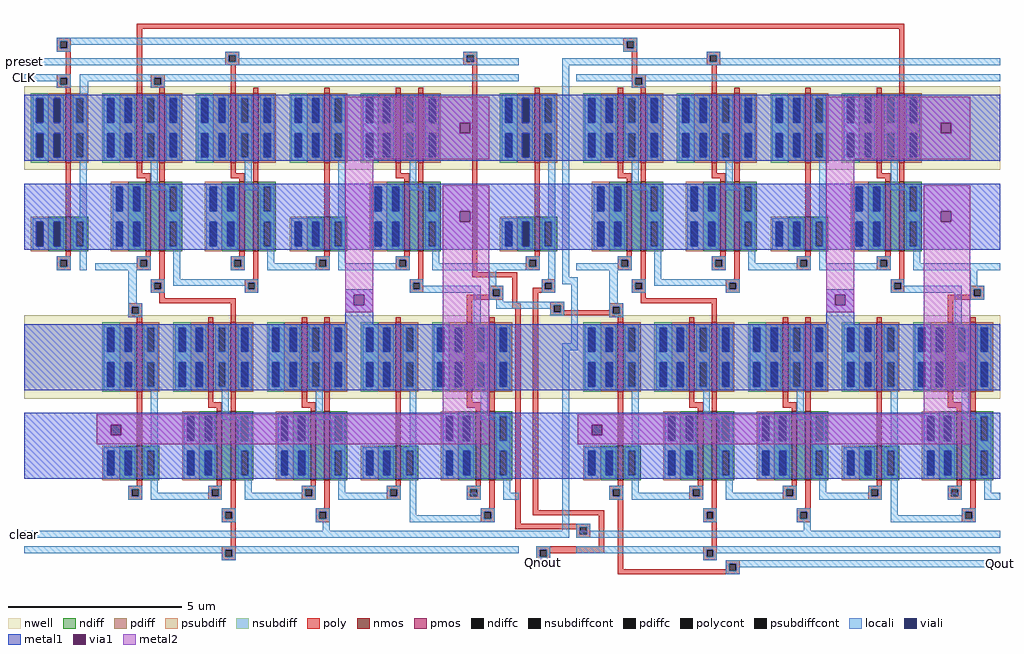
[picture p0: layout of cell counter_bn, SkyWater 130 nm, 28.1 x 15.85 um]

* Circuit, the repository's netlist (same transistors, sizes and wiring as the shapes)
* NGSPICE file created from counter_bn.ext - technology: sky130A

.subckt inverter A Y VP VN
X0 Y A VN VN sky130_fd_pr__nfet_01v8 ad=5e+11p pd=3e+06u as=5e+11p ps=3e+06u w=1e+06u l=150000u
X1 Y A VP VP sky130_fd_pr__pfet_01v8 ad=1e+12p pd=5e+06u as=1e+12p ps=5e+06u w=2e+06u l=150000u
.ends

.subckt nand2 A B Y VP VN
X0 VP B Y VP sky130_fd_pr__pfet_01v8 ad=2e+12p pd=1e+07u as=1e+12p ps=5e+06u w=2e+06u l=150000u
X1 Y B a_80_120# VN sky130_fd_pr__nfet_01v8 ad=1e+12p pd=5e+06u as=5e+11p ps=4.5e+06u w=2e+06u l=150000u
X2 a_80_120# A VN VN sky130_fd_pr__nfet_01v8 ad=0p pd=0u as=1e+12p ps=5e+06u w=2e+06u l=150000u
X3 Y A VP VP sky130_fd_pr__pfet_01v8 ad=0p pd=0u as=0p ps=0u w=2e+06u l=150000u
.ends

.subckt and2 VSUBS nand2_0/VP nand2_0/A nand2_0/B inverter_0/Y
Xinverter_0 nand2_0/Y inverter_0/Y nand2_0/VP VSUBS inverter
Xnand2_0 nand2_0/A nand2_0/B nand2_0/Y nand2_0/VP VSUBS nand2
.ends

.subckt dff_lower VSUBS nand2_2/Y inverter_0/A nand2_2/VP and2_0/nand2_0/B nand2_2/A
+ nand2_0/B
Xinverter_0 inverter_0/A nand2_0/A nand2_2/VP VSUBS inverter
Xand2_0 VSUBS nand2_2/VP nand2_0/Y and2_0/nand2_0/B nand2_2/B and2
Xnand2_0 nand2_0/A nand2_0/B nand2_0/Y nand2_2/VP VSUBS nand2
Xnand2_2 nand2_2/A nand2_2/B nand2_2/Y nand2_2/VP VSUBS nand2
.ends

.subckt dff_upper VSUBS and2_0/nand2_0/A nand2_2/Y nand2_2/VP nand2_2/B nand2_0/B
+ nand2_0/A
Xand2_0 VSUBS nand2_2/VP and2_0/nand2_0/A nand2_0/Y nand2_2/A and2
Xnand2_0 nand2_0/A nand2_0/B nand2_0/Y nand2_2/VP VSUBS nand2
Xnand2_2 nand2_2/A nand2_2/B nand2_2/Y nand2_2/VP VSUBS nand2
.ends

.subckt dff VDD GND Q dff_upper_0/nand2_2/B dff_upper_0/and2_0/nand2_0/A dff_upper_0/nand2_0/A
+ dff_upper_0/nand2_0/B dff_lower_0/and2_0/nand2_0/B
Xdff_lower_0 GND dff_upper_0/nand2_2/B dff_upper_0/nand2_0/A VDD dff_lower_0/and2_0/nand2_0/B
+ Q dff_upper_0/nand2_0/B dff_lower
Xdff_upper_0 GND dff_upper_0/and2_0/nand2_0/A Q VDD dff_upper_0/nand2_2/B dff_upper_0/nand2_0/B
+ dff_upper_0/nand2_0/A dff_upper
.ends


* Top level circuit counter_bn

Xinverter_0 inverter_0/A inverter_0/Y dff_1/VDD VSUBS inverter
Xinverter_1 dff_0/Q Qout dff_1/VDD VSUBS inverter
Xdff_0 dff_1/VDD VSUBS dff_0/Q dff_0/dff_upper_0/nand2_2/B dff_1/dff_lower_0/and2_0/nand2_0/B
+ dff_1/dff_upper_0/nand2_2/B inverter_0/Y dff_1/dff_upper_0/and2_0/nand2_0/A dff
Xdff_1 dff_1/VDD VSUBS dff_1/Q dff_1/dff_upper_0/nand2_2/B dff_1/dff_upper_0/and2_0/nand2_0/A
+ dff_0/Q inverter_0/A dff_1/dff_lower_0/and2_0/nand2_0/B dff
.end

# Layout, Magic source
magic
tech sky130A
<< nwell >>
rect -105 1370 -65 1375
rect 1355 1135 1390 1375
rect -200 690 5 715
rect -200 500 10 690
rect 1220 615 1395 715
rect 1220 505 1390 615
rect -200 475 5 500
rect 1220 475 1395 505
<< poly >>
rect 125 1540 2335 1555
rect -105 1505 -65 1515
rect -105 1485 -95 1505
rect -75 1485 -65 1505
rect -105 1475 -65 1485
rect -80 1410 -65 1475
rect -105 1400 -65 1410
rect -105 1380 -95 1400
rect -75 1380 -65 1400
rect -105 1370 -65 1380
rect 125 1370 140 1540
rect 1525 1505 1565 1515
rect 1525 1485 1535 1505
rect 1555 1485 1565 1505
rect 1525 1475 1565 1485
rect 1065 1465 1105 1475
rect 1065 1445 1075 1465
rect 1095 1445 1105 1465
rect 1065 1435 1105 1445
rect 1090 840 1105 1435
rect 1550 1410 1565 1475
rect 2320 1370 2335 1540
rect 1090 825 1220 840
rect 1205 750 1220 825
rect 1290 810 1330 820
rect 1290 795 1300 810
rect 1265 790 1300 795
rect 1320 790 1330 810
rect 1265 780 1330 790
rect 1205 735 1230 750
rect 1215 115 1230 735
rect 1265 155 1280 780
rect 1315 745 1355 755
rect 1315 725 1325 745
rect 1345 730 1355 745
rect 1345 725 1490 730
rect 1315 715 1490 725
rect 1265 140 1470 155
rect 1215 105 1430 115
rect 1215 100 1400 105
rect 1390 85 1400 100
rect 1420 85 1430 105
rect 1390 75 1430 85
rect 1455 50 1470 140
rect 1275 40 1470 50
rect 1275 20 1285 40
rect 1305 30 1470 40
rect 1305 20 1315 30
rect 1275 10 1315 20
rect 1510 -15 1525 185
rect 1820 0 1860 10
rect 1820 -15 1830 0
rect 1510 -20 1830 -15
rect 1850 -20 1860 0
rect 1510 -30 1860 -20
<< polycont >>
rect -95 1485 -75 1505
rect -95 1380 -75 1400
rect 1535 1485 1555 1505
rect 1075 1445 1095 1465
rect 1300 790 1320 810
rect 1325 725 1345 745
rect 1400 85 1420 105
rect 1285 20 1305 40
rect 1830 -20 1850 0
<< locali >>
rect -105 1505 1565 1515
rect -105 1485 -95 1505
rect -75 1495 1535 1505
rect -75 1485 -65 1495
rect -105 1475 -65 1485
rect 1525 1485 1535 1495
rect 1555 1485 1565 1505
rect 1525 1475 1565 1485
rect 1065 1465 1105 1475
rect -200 1435 5 1455
rect 1065 1445 1075 1465
rect 1095 1445 1105 1465
rect 1065 1435 1105 1445
rect 1350 1435 1405 1455
rect -200 1400 -65 1410
rect -200 1390 -95 1400
rect -105 1380 -95 1390
rect -75 1380 -65 1400
rect -105 1370 -65 1380
rect -40 1390 15 1410
rect -40 1350 -15 1390
rect 1220 845 1250 865
rect 1310 820 1330 850
rect 1290 810 1330 820
rect 1290 790 1300 810
rect 1320 790 1330 810
rect 1350 825 1370 1435
rect 1350 805 1395 825
rect 1290 780 1330 790
rect 1160 755 1180 765
rect 1160 745 1355 755
rect 1160 735 1325 745
rect 1315 725 1325 735
rect 1345 725 1355 745
rect 1315 715 1355 725
rect 1375 635 1395 805
rect 1350 615 1395 635
rect 1350 95 1370 615
rect -200 75 30 95
rect 1220 75 1370 95
rect 1390 105 1430 115
rect 1390 85 1400 105
rect 1420 85 1430 105
rect 1390 75 1430 85
rect -200 30 30 50
rect 1275 40 1315 50
rect 1275 20 1285 40
rect 1305 20 1315 40
rect 1275 5 1315 20
rect 1820 0 2610 10
rect 1820 -20 1830 0
rect 1850 -10 2610 0
rect 1850 -20 1860 -10
rect 1820 -30 1860 -20
<< metal1 >>
rect 1355 1160 1390 1350
rect 1355 905 1405 1095
rect -200 500 10 690
rect 1220 615 1395 690
rect 1220 500 1390 615
rect -200 245 5 435
rect 1220 245 1390 435
use dff  dff_0
transform 1 0 10 0 1 80
box -5 -70 1215 1395
use dff  dff_1
transform 1 0 1395 0 1 80
box -5 -70 1215 1395
use inverter  inverter_1
transform 1 0 1270 0 1 765
box -120 80 85 610
use inverter  inverter_0
transform 1 0 -80 0 1 765
box -120 80 85 610
<< labels >>
rlabel locali -200 1445 -200 1445 7 preset
rlabel locali -200 1400 -200 1400 7 CLK
rlabel locali 1295 5 1295 5 5 Qnout
rlabel locali 2610 0 2610 0 3 Qout
rlabel locali -200 85 -200 85 7 clear
<< end >>

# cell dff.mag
magic
tech sky130A
<< nwell >>
rect 1010 1270 1215 1295
rect 990 1080 1215 1270
rect 1010 1055 1215 1080
rect 1200 395 1215 635
<< poly >>
rect 180 685 195 720
rect 1130 710 1170 720
rect 1130 695 1140 710
rect 1065 690 1140 695
rect 1160 690 1170 710
rect 180 670 400 685
rect 90 660 130 670
rect 90 640 100 660
rect 120 640 130 660
rect 90 630 130 640
rect 385 630 400 670
rect 1065 680 1170 690
rect 1065 630 1080 680
<< polycont >>
rect 1140 690 1160 710
rect 100 640 120 660
<< locali >>
rect 965 1355 1215 1375
rect 965 1310 1215 1330
rect 965 765 1215 785
rect 90 670 115 765
rect 1130 720 1150 765
rect 940 700 1105 720
rect 90 660 130 670
rect 90 640 100 660
rect 120 640 130 660
rect 90 630 130 640
rect 1085 610 1105 700
rect 1130 710 1170 720
rect 1130 690 1140 710
rect 1160 690 1170 710
rect 1130 680 1170 690
<< metal1 >>
rect -5 1190 1215 1270
rect -5 1160 1045 1190
rect 1075 1160 1215 1190
rect -5 1080 1215 1160
rect -5 935 1215 1015
rect -5 905 1045 935
rect 1075 905 1215 935
rect -5 825 1215 905
rect 715 695 795 710
rect 715 665 740 695
rect 770 665 795 695
rect 715 610 795 665
rect -5 420 1215 610
rect -5 320 1215 355
rect -5 290 40 320
rect 70 290 1215 320
rect -5 165 1215 290
<< via1 >>
rect 1045 1160 1075 1190
rect 1045 905 1075 935
rect 740 665 770 695
rect 40 290 70 320
<< metal2 >>
rect 715 1190 1130 1265
rect 715 1160 1045 1190
rect 1075 1160 1130 1190
rect 715 1085 1130 1160
rect 715 695 795 1085
rect 715 665 740 695
rect 770 665 795 695
rect 715 645 795 665
rect 995 935 1130 1010
rect 995 905 1045 935
rect 1075 905 1130 935
rect 995 350 1130 905
rect 0 320 1130 350
rect 0 290 40 320
rect 70 290 1130 320
rect 0 265 1130 290
use dff_lower  dff_lower_0
transform 1 0 -35 0 1 130
box 30 -200 1250 505
use dff_upper  dff_upper_0
transform 1 0 -5 0 1 700
box 0 0 1015 695
<< labels >>
rlabel space -5 5 -5 5 7 clear
port 7 w
rlabel space -5 1365 -5 1365 7 preset
port 6 w
rlabel space -5 1320 -5 1320 7 CLK
port 5 w
rlabel space -5 775 -5 775 7 D
port 3 w
rlabel metal1 -5 1175 -5 1175 7 VDD
port 1 w
rlabel metal1 -5 920 -5 920 7 GND
port 2 w
rlabel locali 1215 775 1215 775 3 Q
port 4 e
<< end >>

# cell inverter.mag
magic
tech sky130A
<< nwell >>
rect -120 370 85 610
<< nmos >>
rect 0 135 15 235
<< pmos >>
rect 0 390 15 590
<< ndiff >>
rect -50 220 0 235
rect -50 150 -35 220
rect -15 150 0 220
rect -50 135 0 150
rect 15 220 65 235
rect 15 150 30 220
rect 50 150 65 220
rect 15 135 65 150
<< pdiff >>
rect -50 575 0 590
rect -50 505 -35 575
rect -15 505 0 575
rect -50 475 0 505
rect -50 405 -35 475
rect -15 405 0 475
rect -50 390 0 405
rect 15 575 65 590
rect 15 505 30 575
rect 50 505 65 575
rect 15 475 65 505
rect 15 405 30 475
rect 50 405 65 475
rect 15 390 65 405
<< ndiffc >>
rect -35 150 -15 220
rect 30 150 50 220
<< pdiffc >>
rect -35 505 -15 575
rect -35 405 -15 475
rect 30 505 50 575
rect 30 405 50 475
<< psubdiff >>
rect -100 220 -50 235
rect -100 150 -85 220
rect -65 150 -50 220
rect -100 135 -50 150
<< nsubdiff >>
rect -100 575 -50 590
rect -100 505 -85 575
rect -65 505 -50 575
rect -100 475 -50 505
rect -100 405 -85 475
rect -65 405 -50 475
rect -100 390 -50 405
<< psubdiffcont >>
rect -85 150 -65 220
<< nsubdiffcont >>
rect -85 505 -65 575
rect -85 405 -65 475
<< poly >>
rect 0 590 15 605
rect 0 235 15 390
rect 0 120 15 135
rect -25 110 15 120
rect -25 90 -15 110
rect 5 90 15 110
rect -25 80 15 90
<< polycont >>
rect -15 90 5 110
<< locali >>
rect -95 575 -5 585
rect -95 505 -85 575
rect -65 505 -35 575
rect -15 505 -5 575
rect -95 475 -5 505
rect -95 405 -85 475
rect -65 405 -35 475
rect -15 405 -5 475
rect -95 395 -5 405
rect 20 575 60 585
rect 20 505 30 575
rect 50 505 60 575
rect 20 475 60 505
rect 20 405 30 475
rect 50 405 60 475
rect 20 395 60 405
rect 40 230 60 395
rect -95 220 -5 230
rect -95 150 -85 220
rect -65 150 -35 220
rect -15 150 -5 220
rect -95 140 -5 150
rect 20 220 60 230
rect 20 150 30 220
rect 50 150 60 220
rect 20 140 60 150
rect -25 110 15 120
rect -25 90 -15 110
rect 5 90 15 110
rect -25 80 15 90
rect 40 80 60 140
<< viali >>
rect -85 505 -65 575
rect -35 505 -15 575
rect -85 405 -65 475
rect -35 405 -15 475
rect -85 150 -65 220
rect -35 150 -15 220
<< metal1 >>
rect -120 575 85 585
rect -120 505 -85 575
rect -65 505 -35 575
rect -15 505 85 575
rect -120 475 85 505
rect -120 405 -85 475
rect -65 405 -35 475
rect -15 405 85 475
rect -120 395 85 405
rect -120 220 85 330
rect -120 150 -85 220
rect -65 150 -35 220
rect -15 150 85 220
rect -120 140 85 150
<< labels >>
rlabel metal1 -120 235 -120 235 7 VN
port 4 w
rlabel locali -25 100 -25 100 7 A
port 1 w
rlabel locali 60 90 60 90 3 Y
port 2 e
rlabel metal1 -120 490 -120 490 7 VP
port 3 w
<< end >>

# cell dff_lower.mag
magic
tech sky130A
<< poly >>
rect 420 -160 435 -50
rect 395 -170 435 -160
rect 395 -190 405 -170
rect 425 -190 435 -170
rect 395 -200 435 -190
<< polycont >>
rect 405 -190 425 -170
<< locali >>
rect 210 -25 355 -5
rect 460 -25 630 -5
rect 935 -70 955 -15
rect 1100 -25 1130 -5
rect 1205 -25 1250 -5
rect 935 -90 1140 -70
rect 685 -115 705 -90
rect 30 -135 1250 -115
rect 30 -170 1250 -160
rect 30 -180 405 -170
rect 395 -190 405 -180
rect 425 -180 1250 -170
rect 425 -190 435 -180
rect 395 -200 435 -190
use nand2  nand2_2
transform 1 0 1100 0 1 -30
box -120 -60 150 535
use nand2  nand2_0
transform 1 0 355 0 1 -30
box -120 -60 150 535
use and2  and2_0
transform 1 0 775 0 1 15
box -270 -105 205 490
use inverter  inverter_0
transform 1 0 150 0 1 -105
box -120 80 85 610
<< end >>

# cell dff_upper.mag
magic
tech sky130A
<< poly >>
rect 375 685 415 695
rect 375 665 385 685
rect 405 665 415 685
rect 375 655 415 665
rect 160 620 200 630
rect 160 600 170 620
rect 190 600 200 620
rect 160 590 200 600
rect 390 590 405 655
<< polycont >>
rect 385 665 405 685
rect 170 600 190 620
<< locali >>
rect 375 685 415 695
rect 375 675 385 685
rect 0 665 385 675
rect 405 675 415 685
rect 405 665 1015 675
rect 0 655 1015 665
rect 0 620 1015 630
rect 0 610 170 620
rect 160 600 170 610
rect 190 610 1015 620
rect 190 600 200 610
rect 160 590 200 600
rect 0 65 120 85
rect 225 40 245 90
rect 390 85 395 105
rect 715 65 865 85
rect 225 20 430 40
use nand2  nand2_2
transform 1 0 865 0 1 60
box -120 -60 150 535
use nand2  nand2_0
transform 1 0 120 0 1 60
box -120 -60 150 535
use and2  and2_0
transform 1 0 540 0 1 105
box -270 -105 205 490
<< end >>

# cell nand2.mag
magic
tech sky130A
<< nwell >>
rect -120 295 150 535
<< nmos >>
rect 25 60 40 260
rect 65 60 80 260
<< pmos >>
rect 0 315 15 515
rect 65 315 80 515
<< ndiff >>
rect -25 245 25 260
rect -25 175 -10 245
rect 10 175 25 245
rect -25 145 25 175
rect -25 75 -10 145
rect 10 75 25 145
rect -25 60 25 75
rect 40 60 65 260
rect 80 245 130 260
rect 80 175 95 245
rect 115 175 130 245
rect 80 145 130 175
rect 80 75 95 145
rect 115 75 130 145
rect 80 60 130 75
<< pdiff >>
rect -50 500 0 515
rect -50 430 -35 500
rect -15 430 0 500
rect -50 400 0 430
rect -50 330 -35 400
rect -15 330 0 400
rect -50 315 0 330
rect 15 500 65 515
rect 15 430 30 500
rect 50 430 65 500
rect 15 400 65 430
rect 15 330 30 400
rect 50 330 65 400
rect 15 315 65 330
rect 80 500 130 515
rect 80 430 95 500
rect 115 430 130 500
rect 80 400 130 430
rect 80 330 95 400
rect 115 330 130 400
rect 80 315 130 330
<< ndiffc >>
rect -10 175 10 245
rect -10 75 10 145
rect 95 175 115 245
rect 95 75 115 145
<< pdiffc >>
rect -35 430 -15 500
rect -35 330 -15 400
rect 30 430 50 500
rect 30 330 50 400
rect 95 430 115 500
rect 95 330 115 400
<< psubdiff >>
rect -75 245 -25 260
rect -75 175 -60 245
rect -40 175 -25 245
rect -75 145 -25 175
rect -75 75 -60 145
rect -40 75 -25 145
rect -75 60 -25 75
<< nsubdiff >>
rect -100 500 -50 515
rect -100 430 -85 500
rect -65 430 -50 500
rect -100 400 -50 430
rect -100 330 -85 400
rect -65 330 -50 400
rect -100 315 -50 330
<< psubdiffcont >>
rect -60 175 -40 245
rect -60 75 -40 145
<< nsubdiffcont >>
rect -85 430 -65 500
rect -85 330 -65 400
<< poly >>
rect 0 515 15 530
rect 65 515 80 530
rect 0 285 15 315
rect 0 270 40 285
rect 25 260 40 270
rect 65 260 80 315
rect 25 45 40 60
rect 0 35 40 45
rect 0 15 10 35
rect 30 15 40 35
rect 0 5 40 15
rect 65 -20 80 60
rect 40 -30 80 -20
rect 40 -50 50 -30
rect 70 -50 80 -30
rect 40 -60 80 -50
<< polycont >>
rect 10 15 30 35
rect 50 -50 70 -30
<< locali >>
rect -95 500 -5 510
rect -95 430 -85 500
rect -65 430 -35 500
rect -15 430 -5 500
rect -95 400 -5 430
rect -95 330 -85 400
rect -65 330 -35 400
rect -15 330 -5 400
rect -95 320 -5 330
rect 20 500 60 510
rect 20 430 30 500
rect 50 430 60 500
rect 20 400 60 430
rect 20 330 30 400
rect 50 330 60 400
rect 20 320 60 330
rect 85 500 125 510
rect 85 430 95 500
rect 115 430 125 500
rect 85 400 125 430
rect 85 330 95 400
rect 115 330 125 400
rect 85 320 125 330
rect 40 255 60 320
rect -70 245 20 255
rect -70 175 -60 245
rect -40 175 -10 245
rect 10 175 20 245
rect 40 245 125 255
rect 40 235 95 245
rect -70 145 20 175
rect -70 75 -60 145
rect -40 75 -10 145
rect 10 75 20 145
rect -70 65 20 75
rect 85 175 95 235
rect 115 175 125 245
rect 85 145 125 175
rect 85 75 95 145
rect 115 75 125 145
rect 85 65 125 75
rect 0 35 40 45
rect 0 15 10 35
rect 30 15 40 35
rect 105 25 125 65
rect 0 5 40 15
rect 40 -30 80 -20
rect 40 -50 50 -30
rect 70 -50 80 -30
rect 40 -60 80 -50
<< viali >>
rect -85 430 -65 500
rect -35 430 -15 500
rect -85 330 -65 400
rect -35 330 -15 400
rect 95 430 115 500
rect 95 330 115 400
rect -60 175 -40 245
rect -10 175 10 245
rect -60 75 -40 145
rect -10 75 10 145
<< metal1 >>
rect -120 500 150 510
rect -120 430 -85 500
rect -65 430 -35 500
rect -15 430 95 500
rect 115 430 150 500
rect -120 400 150 430
rect -120 330 -85 400
rect -65 330 -35 400
rect -15 330 95 400
rect 115 330 150 400
rect -120 320 150 330
rect -120 245 150 255
rect -120 175 -60 245
rect -40 175 -10 245
rect 10 175 150 245
rect -120 145 150 175
rect -120 75 -60 145
rect -40 75 -10 145
rect 10 75 150 145
rect -120 65 150 75
<< labels >>
rlabel metal1 -120 160 -120 160 7 VN
port 5 w
rlabel metal1 -120 415 -120 415 7 VP
port 4 w
rlabel locali 0 35 0 35 7 A
port 1 w
rlabel locali 125 35 125 35 3 Y
port 3 e
rlabel locali 40 -30 40 -30 7 B
port 2 w
<< end >>

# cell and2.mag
magic
tech sky130A
<< locali >>
rect -45 -40 95 -20
use nand2  nand2_0
transform 1 0 -150 0 1 -45
box -120 -60 150 535
use inverter  inverter_0
transform 1 0 120 0 1 -120
box -120 80 85 610
<< end >>
